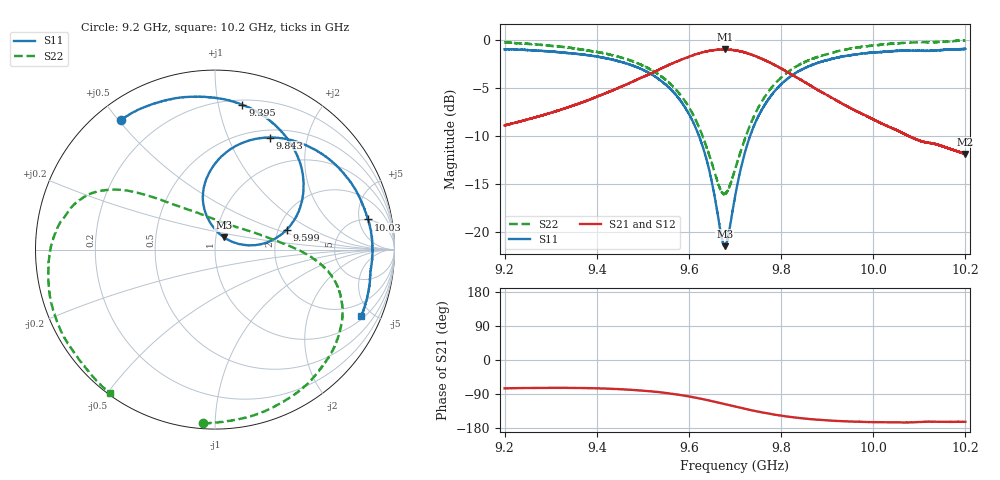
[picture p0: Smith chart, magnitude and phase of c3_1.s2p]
!Agilent Technologies,N5242A,MY51221714,A.09.90.19
!Agilent N5242A: A.09.90.19
!Date: Saturday, March 16, 2024 09:57:56
!Correction: S11(Full 2 Port(1,2))
!S21(Full 2 Port(1,2))
!S12(Full 2 Port(1,2))
!S22(Full 2 Port(1,2))
!S2P File: Measurements: S11, S21, S12, S22:
# Hz S  dB  R 50
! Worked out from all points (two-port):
!   16001 points, 9.2 GHz to 10.2 GHz, reference 50 ohm
!   highest |S21| = -1.00 dB at 9.679 GHz (marker M1); lowest = -11.9 dB at 10.2 GHz (marker M2)
!   |S21| within 3 dB of the highest: 9.494 GHz to 9.837 GHz (342.6 MHz wide, 3.54 % of centre); 9.836775 GHz to 9.836862 GHz (86.93 kHz wide, 0.000884 % of centre)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
!   lowest |S11| = -21.5 dB at 9.678 GHz (marker M3), VSWR 1.18, Z = 54.6 + j7.57 ohm
!   |S11| at or under -10 dB: 9.622 GHz to 9.733 GHz (111 MHz wide, 1.15 % of centre)
!   |S22| runs from -16.1 to -0.1 dB; largest |S21 - S12| = 0.012
!   S11 on the Smith chart (normalised r, x): 9.2 GHz: 0.07, +0.51; 9.395 GHz: 0.24, +1.18; 9.599 GHz: 2.22, +0.59; 9.843 GHz: 0.59, +1.43; 10.03 GHz: 4.90, +6.69; 10.2 GHz: 1.16, -4.33
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9.2e9  -1.00 125.8  -8.91 -74.8  -8.90 -75.3  -0.27 -93.8
9.277625e9  -1.15 108.1  -7.93 -73.7  -7.91 -74.2  -0.53 -72.7
9.366688e9  -1.52 86.7  -6.54 -74.0  -6.53 -74.5  -1.01 -49.3
9.395438e9  -1.71 79.2  -6.03 -74.6  -6.00 -75.2  -1.24 -42.1
9.463812e9  -2.46 60.2  -4.66 -77.9  -4.65 -78.5  -2.01 -26.5
9.533375e9  -4.05 38.2  -3.14 -84.6  -3.13 -85.2  -3.57 -12.4
9.599375e9  -7.66 15.6  -1.78 -96.1  -1.77 -96.7  -6.97 0.7
9.636688e9  -12.20 6.6  -1.23 -105.0  -1.23 -105.6  -10.96 15.3
9.677688e9  -21.48 54.7  -1.01 -116.3  -1.00 -116.9  -16.04 72.2
9.679312e9  -21.33 59.6  -1.00 -116.8  -1.00 -117.4  -16.00 75.7
9.7e9  -16.39 100.0  -1.10 -122.7  -1.08 -123.4  -13.53 111.1
9.72375e9  -11.37 104.2  -1.37 -129.4  -1.33 -130.1  -10.02 130.1
9.752125e9  -7.82 96.1  -1.87 -136.6  -1.84 -137.3  -6.92 139.6
9.798562e9  -4.72 79.4  -2.97 -146.6  -2.96 -147.2  -4.02 148.0
9.843062e9  -3.16 63.8  -4.17 -153.4  -4.18 -154.1  -2.51 155.0
9.866688e9  -2.64 56.1  -4.86 -156.3  -4.84 -156.9  -2.01 158.9
9.949375e9  -1.61 31.9  -7.08 -162.2  -7.08 -162.8  -0.94 174.8
1.003188e10  -1.23 11.2  -9.01 -164.5  -9.01 -165.1  -0.45 -167.1
1.003338e10  -1.22 10.9  -9.05 -164.5  -9.03 -165.1  -0.44 -166.7
1.010719e10  -1.15 -5.9  -10.60 -163.3  -10.59 -164.0  -0.25 -149.5
1.019956e10  -0.97 -24.3  -11.89 -163.0  -11.87 -163.8  -0.08 -126.2
1.02e10  -0.96 -24.4  -11.88 -163.0  -11.88 -163.7  -0.08 -126.0
